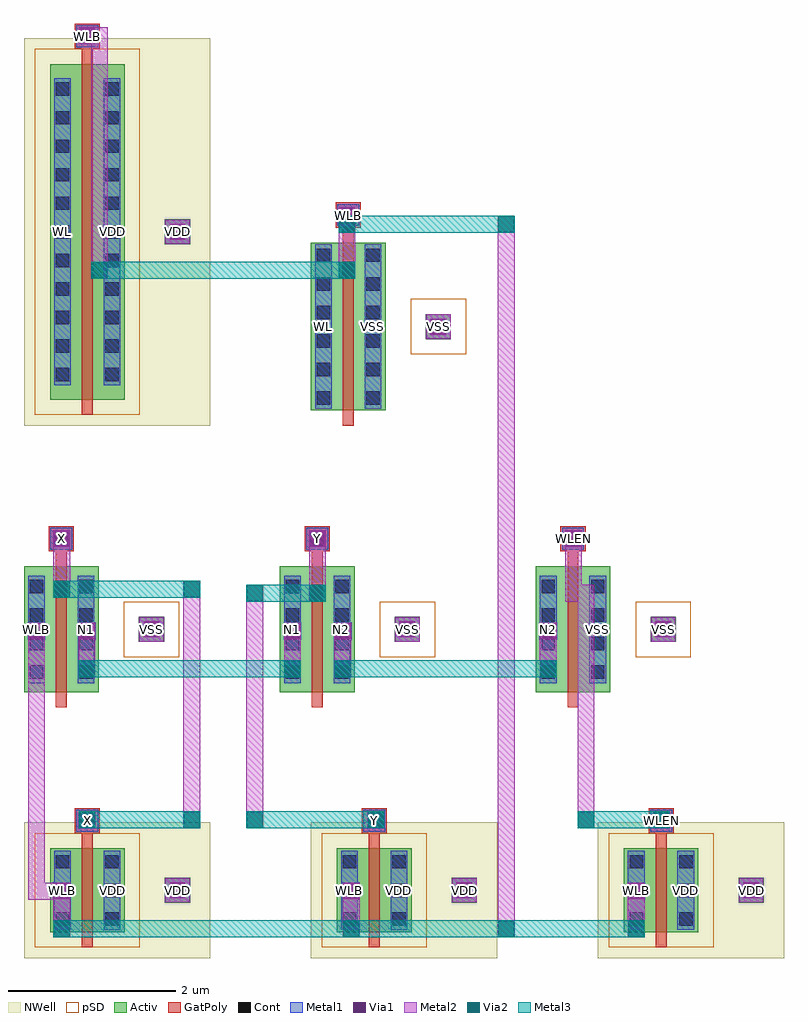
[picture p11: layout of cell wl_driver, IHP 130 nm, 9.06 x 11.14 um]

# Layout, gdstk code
import gdstk
lib = gdstk.Library(unit=1e-6, precision=1e-09)
def R(c, l, rs):  # rectangles x0, y0, x1, y1
    for r in rs: c.add(gdstk.rectangle(r[:2], r[2:], *l))
def A(c, l, x, y, w, h, nx, ny, dx, dy):  # array of equal rectangles
    R(c, l, [(x+i*dx, y+j*dy, x+i*dx+w, y+j*dy+h) for i in range(nx) for j in range(ny)])
Activ = (1, 0)
GatPoly = (5, 0)
Cont = (6, 0)
Metal1 = (8, 0)
Metal2 = (10, 0)
pSD = (14, 0)
Via1 = (19, 0)
Via2 = (29, 0)
Metal3 = (30, 0)
NWell = (31, 0)

sg13_lv_pmos_w1_l0p13 = lib.new_cell('sg13_lv_pmos_w1_l0p13')
R(sg13_lv_pmos_w1_l0p13, Activ, [(0,0,0.89,1), (1.37,0.35,1.67,0.65)])
R(sg13_lv_pmos_w1_l0p13, GatPoly, [(0.38,-0.18,0.51,1.2), (0.295,1.18,0.595,1.48)])
A(sg13_lv_pmos_w1_l0p13, Cont, 0.07, 0.08, 0.16, 0.16, 1, 3, 0, 0.34)
A(sg13_lv_pmos_w1_l0p13, Cont, 0.66, 0.08, 0.16, 0.16, 1, 3, 0, 0.34)
R(sg13_lv_pmos_w1_l0p13, Cont, [(1.44,0.42,1.6,0.58), (0.365,1.25,0.525,1.41)])
R(sg13_lv_pmos_w1_l0p13, Metal1, [(0.05,0.03,0.25,0.97), (0.64,0.03,0.84,0.97), (1.375,0.355,1.665,0.645), (0.315,1.2,0.575,1.46)])
R(sg13_lv_pmos_w1_l0p13, Metal2, [(1.375,0.355,1.665,0.645)])
R(sg13_lv_pmos_w1_l0p13, pSD, [(-0.18,-0.18,1.07,1.18)])
R(sg13_lv_pmos_w1_l0p13, Via1, [(1.425,0.405,1.615,0.595)])
R(sg13_lv_pmos_w1_l0p13, NWell, [(-0.31,-0.31,1.91,1.31)])

sg13_lv_nmos_w1p5_l0p13 = lib.new_cell('sg13_lv_nmos_w1p5_l0p13')
R(sg13_lv_nmos_w1p5_l0p13, Activ, [(0,0,0.89,1.5), (1.37,0.6,1.67,0.9)])
R(sg13_lv_nmos_w1p5_l0p13, GatPoly, [(0.38,-0.18,0.51,1.7), (0.295,1.68,0.595,1.98)])
A(sg13_lv_nmos_w1p5_l0p13, Cont, 0.07, 0.16, 0.16, 0.16, 1, 4, 0, 0.34)
A(sg13_lv_nmos_w1p5_l0p13, Cont, 0.66, 0.16, 0.16, 0.16, 1, 4, 0, 0.34)
R(sg13_lv_nmos_w1p5_l0p13, Cont, [(1.44,0.67,1.6,0.83), (0.365,1.75,0.525,1.91)])
R(sg13_lv_nmos_w1p5_l0p13, Metal1, [(0.05,0.11,0.25,1.39), (0.64,0.11,0.84,1.39), (1.375,0.605,1.665,0.895), (0.315,1.7,0.575,1.96)])
R(sg13_lv_nmos_w1p5_l0p13, Metal2, [(1.375,0.605,1.665,0.895)])
R(sg13_lv_nmos_w1p5_l0p13, pSD, [(1.19,0.42,1.85,1.08)])
R(sg13_lv_nmos_w1p5_l0p13, Via1, [(1.425,0.655,1.615,0.845)])

sg13_lv_pmos_w4_l0p13 = lib.new_cell('sg13_lv_pmos_w4_l0p13')
R(sg13_lv_pmos_w4_l0p13, Activ, [(0,0,0.89,4), (1.37,1.85,1.67,2.15)])
R(sg13_lv_pmos_w4_l0p13, GatPoly, [(0.38,-0.18,0.51,4.2), (0.295,4.18,0.595,4.48)])
A(sg13_lv_pmos_w4_l0p13, Cont, 0.07, 0.22, 0.16, 0.16, 1, 11, 0, 0.34)
A(sg13_lv_pmos_w4_l0p13, Cont, 0.66, 0.22, 0.16, 0.16, 1, 11, 0, 0.34)
R(sg13_lv_pmos_w4_l0p13, Cont, [(1.44,1.92,1.6,2.08), (0.365,4.25,0.525,4.41)])
R(sg13_lv_pmos_w4_l0p13, Metal1, [(0.05,0.17,0.25,3.83), (0.64,0.17,0.84,3.83), (1.375,1.855,1.665,2.145), (0.315,4.2,0.575,4.46)])
R(sg13_lv_pmos_w4_l0p13, Metal2, [(1.375,1.855,1.665,2.145)])
R(sg13_lv_pmos_w4_l0p13, pSD, [(-0.18,-0.18,1.07,4.18)])
R(sg13_lv_pmos_w4_l0p13, Via1, [(1.425,1.905,1.615,2.095)])
R(sg13_lv_pmos_w4_l0p13, NWell, [(-0.31,-0.31,1.91,4.31)])

sg13_lv_nmos_w2_l0p13 = lib.new_cell('sg13_lv_nmos_w2_l0p13')
R(sg13_lv_nmos_w2_l0p13, Activ, [(0,0,0.89,2), (1.37,0.85,1.67,1.15)])
R(sg13_lv_nmos_w2_l0p13, GatPoly, [(0.38,-0.18,0.51,2.2), (0.295,2.18,0.595,2.48)])
A(sg13_lv_nmos_w2_l0p13, Cont, 0.07, 0.07, 0.16, 0.16, 1, 6, 0, 0.34)
A(sg13_lv_nmos_w2_l0p13, Cont, 0.66, 0.07, 0.16, 0.16, 1, 6, 0, 0.34)
R(sg13_lv_nmos_w2_l0p13, Cont, [(1.44,0.92,1.6,1.08), (0.365,2.25,0.525,2.41)])
R(sg13_lv_nmos_w2_l0p13, Metal1, [(0.05,0.02,0.25,1.98), (0.64,0.02,0.84,1.98), (1.375,0.855,1.665,1.145), (0.315,2.2,0.575,2.46)])
R(sg13_lv_nmos_w2_l0p13, Metal2, [(1.375,0.855,1.665,1.145)])
R(sg13_lv_nmos_w2_l0p13, pSD, [(1.19,0.67,1.85,1.33)])
R(sg13_lv_nmos_w2_l0p13, Via1, [(1.425,0.905,1.615,1.095)])

wl_driver = lib.new_cell('wl_driver')
A(wl_driver, Metal1, 0.345, 4.895, 0.21, 0.21, 3, 1, 3.05, 0)
R(wl_driver, Metal1, [(0.345,0.695,0.555,0.905), (3.795,0.695,4.005,0.905), (7.195,0.695,7.405,0.905), (0.645,1.545,0.855,1.755), (4.095,1.545,4.305,1.755), (7.495,1.545,7.705,1.755), (0.045,3.795,0.255,4.005), (0.645,3.795,0.855,4.005), (3.095,3.795,3.305,4.005), (3.695,3.795,3.905,4.005), (6.145,3.795,6.355,4.005), (3.745,8.745,3.955,8.955), (0.645,10.895,0.855,11.105)])
A(wl_driver, Metal2, 0.35, 4.9, 0.2, 0.2, 3, 1, 3.05, 0)
R(wl_driver, Metal2, [(0.35,0.25,0.55,0.45), (0.35,0.25,0.55,0.9), (3.8,0.25,4,0.45), (3.8,0.25,4,0.9), (5.65,0.25,5.85,0.45), (5.65,0.25,5.85,8.85), (7.2,0.25,7.4,0.45), (7.2,0.25,7.4,0.9), (0.05,0.7,0.25,4), (0.05,0.7,0.55,0.9), (0.35,0.7,0.55,0.9), (3.8,0.7,4,0.9), (7.2,0.7,7.4,0.9), (0.65,1.55,0.85,1.75), (0.65,1.55,0.85,1.75), (1.9,1.55,2.1,1.75), (1.9,1.55,2.1,4.5), (2.65,1.55,2.85,1.75), (2.65,1.55,2.85,4.45), (4.1,1.55,4.3,1.75), (4.1,1.55,4.3,1.75), (6.6,1.55,6.8,1.75), (6.6,1.55,6.8,4.45), (7.5,1.55,7.7,1.75), (7.5,1.55,7.7,1.75), (0.65,3.35,0.85,3.55), (0.65,3.35,0.85,4), (3.1,3.35,3.3,3.55), (3.1,3.35,3.3,4), (3.7,3.35,3.9,3.55), (3.7,3.35,3.9,4), (6.15,3.35,6.35,3.55), (6.15,3.35,6.35,4), (0.05,3.8,0.25,4), (0.65,3.8,0.85,4), (3.1,3.8,3.3,4), (3.7,3.8,3.9,4), (6.15,3.8,6.35,4), (2.65,4.25,2.85,4.45), (3.4,4.25,3.6,4.45), (3.4,4.25,3.6,5.1), (6.45,4.25,6.8,4.45), (6.45,4.25,6.65,5.1), (0.35,4.3,0.55,4.5), (0.35,4.3,0.55,5.1), (1.9,4.3,2.1,4.5), (0.8,8.1,1,8.3), (0.8,8.1,1,11.1), (3.75,8.1,3.95,8.3), (3.75,8.1,3.95,8.85), (3.75,8.65,3.95,8.85), (3.75,8.65,3.95,8.95), (5.65,8.65,5.85,8.85), (3.75,8.75,3.95,8.95), (0.65,10.9,0.85,11.1), (0.65,10.9,1,11.1)])
A(wl_driver, Via1, 0.355, 4.905, 0.19, 0.19, 3, 1, 3.05, 0)
R(wl_driver, Via1, [(0.355,0.705,0.545,0.895), (3.805,0.705,3.995,0.895), (7.205,0.705,7.395,0.895), (0.655,1.555,0.845,1.745), (4.105,1.555,4.295,1.745), (7.505,1.555,7.695,1.745), (0.055,3.805,0.245,3.995), (0.655,3.805,0.845,3.995), (3.105,3.805,3.295,3.995), (3.705,3.805,3.895,3.995), (6.155,3.805,6.345,3.995), (3.755,8.755,3.945,8.945), (0.655,10.905,0.845,11.095)])
R(wl_driver, Via2, [(0.355,0.255,0.545,0.445), (3.805,0.255,3.995,0.445), (5.655,0.255,5.845,0.445), (7.205,0.255,7.395,0.445), (0.655,1.555,0.845,1.745), (1.905,1.555,2.095,1.745), (2.655,1.555,2.845,1.745), (4.105,1.555,4.295,1.745), (6.605,1.555,6.795,1.745), (7.505,1.555,7.695,1.745), (0.655,3.355,0.845,3.545), (3.105,3.355,3.295,3.545), (3.705,3.355,3.895,3.545), (6.155,3.355,6.345,3.545), (2.655,4.255,2.845,4.445), (3.405,4.255,3.595,4.445), (0.355,4.305,0.545,4.495), (1.905,4.305,2.095,4.495), (0.805,8.105,0.995,8.295), (3.755,8.105,3.945,8.295), (3.755,8.655,3.945,8.845), (5.655,8.655,5.845,8.845)])
R(wl_driver, Metal3, [(0.35,0.25,0.55,0.45), (0.35,0.25,4,0.45), (3.8,0.25,4,0.45), (3.8,0.25,7.4,0.45), (5.65,0.25,5.85,0.45), (7.2,0.25,7.4,0.45), (0.65,1.55,0.85,1.75), (0.65,1.55,2.1,1.75), (1.9,1.55,2.1,1.75), (2.65,1.55,2.85,1.75), (2.65,1.55,4.3,1.75), (4.1,1.55,4.3,1.75), (6.6,1.55,6.8,1.75), (6.6,1.55,7.7,1.75), (7.5,1.55,7.7,1.75), (0.65,3.35,0.85,3.55), (0.65,3.35,3.3,3.55), (3.1,3.35,3.3,3.55), (3.7,3.35,3.9,3.55), (3.7,3.35,6.35,3.55), (6.15,3.35,6.35,3.55), (2.65,4.25,2.85,4.45), (2.65,4.25,3.6,4.45), (3.4,4.25,3.6,4.45), (0.35,4.3,0.55,4.5), (0.35,4.3,2.1,4.5), (1.9,4.3,2.1,4.5), (0.8,8.1,1,8.3), (0.8,8.1,3.95,8.3), (3.75,8.1,3.95,8.3), (3.75,8.65,3.95,8.85), (3.75,8.65,5.85,8.85), (5.65,8.65,5.85,8.85)])
wl_driver.add(gdstk.Reference(sg13_lv_pmos_w1_l0p13, (0.31,0.31)))
wl_driver.add(gdstk.Reference(sg13_lv_pmos_w1_l0p13, (3.73,0.31)))
wl_driver.add(gdstk.Reference(sg13_lv_pmos_w1_l0p13, (7.15,0.31)))
wl_driver.add(gdstk.Reference(sg13_lv_nmos_w1p5_l0p13, (0,3.17)))
wl_driver.add(gdstk.Reference(sg13_lv_nmos_w1p5_l0p13, (3.05,3.17)))
wl_driver.add(gdstk.Reference(sg13_lv_nmos_w1p5_l0p13, (6.1,3.17)))
wl_driver.add(gdstk.Reference(sg13_lv_pmos_w4_l0p13, (0.31,6.66)))
wl_driver.add(gdstk.Reference(sg13_lv_nmos_w2_l0p13, (3.42,6.53)))
wl_driver.add(gdstk.Label('WLB', (0.46,0.81), layer=8, texttype=25))
wl_driver.add(gdstk.Label('X', (0.755,1.64), layer=8, texttype=25))
wl_driver.add(gdstk.Label('VDD', (1.05,0.81), layer=8, texttype=25))
wl_driver.add(gdstk.Label('VDD', (1.83,0.81), layer=8, texttype=25))
wl_driver.add(gdstk.Label('WLB', (3.88,0.81), layer=8, texttype=25))
wl_driver.add(gdstk.Label('Y', (4.175,1.64), layer=8, texttype=25))
wl_driver.add(gdstk.Label('VDD', (4.47,0.81), layer=8, texttype=25))
wl_driver.add(gdstk.Label('VDD', (5.25,0.81), layer=8, texttype=25))
wl_driver.add(gdstk.Label('WLB', (7.3,0.81), layer=8, texttype=25))
wl_driver.add(gdstk.Label('WLEN', (7.595,1.64), layer=8, texttype=25))
wl_driver.add(gdstk.Label('VDD', (7.89,0.81), layer=8, texttype=25))
wl_driver.add(gdstk.Label('VDD', (8.67,0.81), layer=8, texttype=25))
wl_driver.add(gdstk.Label('WLB', (0.15,3.92), layer=8, texttype=25))
wl_driver.add(gdstk.Label('X', (0.445,5), layer=8, texttype=25))
wl_driver.add(gdstk.Label('N1', (0.74,3.92), layer=8, texttype=25))
wl_driver.add(gdstk.Label('VSS', (1.52,3.92), layer=8, texttype=25))
wl_driver.add(gdstk.Label('N1', (3.2,3.92), layer=8, texttype=25))
wl_driver.add(gdstk.Label('Y', (3.495,5), layer=8, texttype=25))
wl_driver.add(gdstk.Label('N2', (3.79,3.92), layer=8, texttype=25))
wl_driver.add(gdstk.Label('VSS', (4.57,3.92), layer=8, texttype=25))
wl_driver.add(gdstk.Label('N2', (6.25,3.92), layer=8, texttype=25))
wl_driver.add(gdstk.Label('WLEN', (6.545,5), layer=8, texttype=25))
wl_driver.add(gdstk.Label('VSS', (6.84,3.92), layer=8, texttype=25))
wl_driver.add(gdstk.Label('VSS', (7.62,3.92), layer=8, texttype=25))
wl_driver.add(gdstk.Label('WL', (0.46,8.66), layer=8, texttype=25))
wl_driver.add(gdstk.Label('WLB', (0.755,10.99), layer=8, texttype=25))
wl_driver.add(gdstk.Label('VDD', (1.05,8.66), layer=8, texttype=25))
wl_driver.add(gdstk.Label('VDD', (1.83,8.66), layer=8, texttype=25))
wl_driver.add(gdstk.Label('WL', (3.57,7.53), layer=8, texttype=25))
wl_driver.add(gdstk.Label('WLB', (3.865,8.86), layer=8, texttype=25))
wl_driver.add(gdstk.Label('VSS', (4.16,7.53), layer=8, texttype=25))
wl_driver.add(gdstk.Label('VSS', (4.94,7.53), layer=8, texttype=25))

lib.write_gds('wl_driver.gds')
